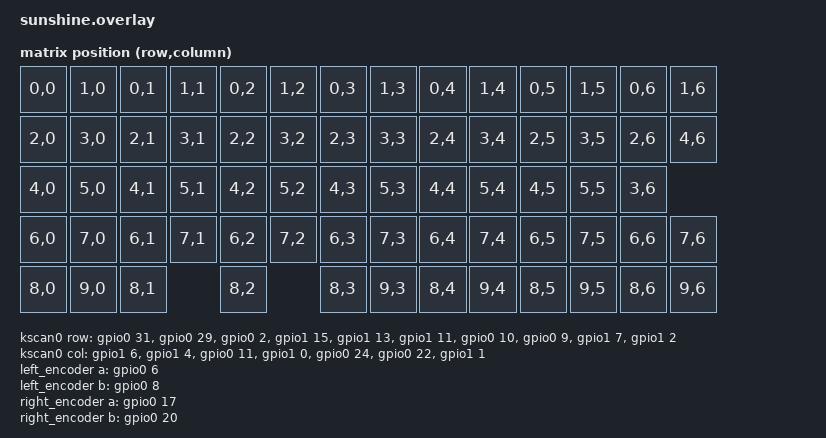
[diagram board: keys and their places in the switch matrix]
/*
 * Copyright (c) 2025 The ZMK Contributors
 *
 * SPDX-License-Identifier: MIT
 */

#include <dt-bindings/zmk/matrix_transform.h>
#include "sunshine-layouts.dtsi"

/ {
    chosen {
        zmk,kscan = &kscan0;
        zmk,matrix-transform = &hybrid_transform;
    };

    kscan0: kscan {
        compatible = "zmk,kscan-gpio-matrix";
        wakeup-source;
        diode-direction = "col2row";
        col-gpios
            = <&gpio1 6 GPIO_ACTIVE_HIGH>
            , <&gpio1 4 GPIO_ACTIVE_HIGH>
            , <&gpio0 11 GPIO_ACTIVE_HIGH>
            , <&gpio1 0 GPIO_ACTIVE_HIGH>
            , <&gpio0 24 GPIO_ACTIVE_HIGH>
            , <&gpio0 22 GPIO_ACTIVE_HIGH>
            , <&gpio1 1 GPIO_ACTIVE_HIGH>
            ;
        row-gpios
            = <&gpio0 31 (GPIO_ACTIVE_HIGH | GPIO_PULL_DOWN)>
            , <&gpio0 29 (GPIO_ACTIVE_HIGH | GPIO_PULL_DOWN)>
            , <&gpio0 2 (GPIO_ACTIVE_HIGH | GPIO_PULL_DOWN)>
            , <&gpio1 15 (GPIO_ACTIVE_HIGH | GPIO_PULL_DOWN)>
            , <&gpio1 13 (GPIO_ACTIVE_HIGH | GPIO_PULL_DOWN)>
            , <&gpio1 11 (GPIO_ACTIVE_HIGH | GPIO_PULL_DOWN)>
            , <&gpio0 10 (GPIO_ACTIVE_HIGH | GPIO_PULL_DOWN)>
            , <&gpio0 9 (GPIO_ACTIVE_HIGH | GPIO_PULL_DOWN)>
            , <&gpio1 7 (GPIO_ACTIVE_HIGH | GPIO_PULL_DOWN)>
            , <&gpio1 2 (GPIO_ACTIVE_HIGH | GPIO_PULL_DOWN)>
            ;
    };

    hybrid_transform: matrix_transform {
        compatible = "zmk,matrix-transform";
        rows = <10>;
        columns = <7>;
        map = <
            RC(0,0) RC(1,0) RC(0,1) RC(1,1) RC(0,2) RC(1,2) RC(0,3) RC(1,3) RC(0,4) RC(1,4) RC(0,5) RC(1,5) RC(0,6) RC(1,6)
            RC(2,0) RC(3,0) RC(2,1) RC(3,1) RC(2,2) RC(3,2) RC(2,3) RC(3,3) RC(2,4) RC(3,4) RC(2,5) RC(3,5) RC(2,6) RC(4,6)
            RC(4,0) RC(5,0) RC(4,1) RC(5,1) RC(4,2) RC(5,2) RC(4,3) RC(5,3) RC(4,4) RC(5,4) RC(4,5) RC(5,5) RC(3,6)
            RC(6,0) RC(7,0) RC(6,1) RC(7,1) RC(6,2) RC(7,2) RC(6,3) RC(7,3) RC(6,4) RC(7,4) RC(6,5) RC(7,5) RC(6,6) RC(7,6)
            RC(8,0) RC(9,0) RC(8,1)         RC(8,2)         RC(8,3) RC(9,3) RC(8,4) RC(9,4) RC(8,5) RC(9,5) RC(8,6) RC(9,6) 
        >;
    };

    left_encoder: encoder_left {
        compatible = "alps,ec11";
        a-gpios = <&gpio0 6 (GPIO_ACTIVE_HIGH | GPIO_PULL_UP)>;
        b-gpios = <&gpio0 8 (GPIO_ACTIVE_HIGH | GPIO_PULL_UP)>;
        steps = <80>;
        status = "okay";
    };
    
    right_encoder: encoder_right {
        compatible = "alps,ec11";
        a-gpios = <&gpio0 17 (GPIO_ACTIVE_HIGH | GPIO_PULL_UP)>;
        b-gpios = <&gpio0 20 (GPIO_ACTIVE_HIGH | GPIO_PULL_UP)>;
        steps = <80>;
        status = "okay";
    };
    
    sensors: sensors {
        compatible = "zmk,keymap-sensors";
        sensors = <&left_encoder &right_encoder>;
        triggers-per-rotation = <20>;
    };
};

&hybrid_layout {
    kscan = <&kscan0>;
    transform = <&hybrid_transform>;
};


